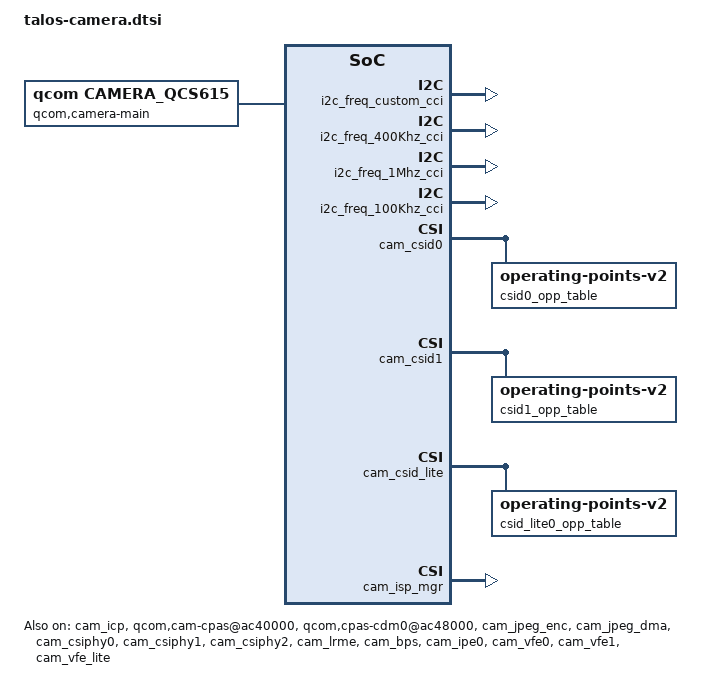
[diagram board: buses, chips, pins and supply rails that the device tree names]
// SPDX-License-Identifier: BSD-3-Clause
/*
 * Copyright (c) Qualcomm Technologies, Inc. and/or its subsidiaries.
 */

#include <dt-bindings/camera/msm-camera.h>
#include <dt-bindings/interconnect/qcom,icc.h>

&soc {
	cam_icp: qcom,icp@ac00000 {
		compatible = "qcom,cam-icp_v1";
		icp-version = <0x0100>;
		reg = <0x0 0xac00000 0x0 0x6000>,
		      <0x0 0xac10000 0x0 0x8000>,
		      <0x0 0xac18000 0x0 0x3000>;
		reg-names = "icp_qgic", "icp_sierra", "icp_csr";
		reg-cam-base = <0x00000 0x10000 0x18000>;
		interrupts = <GIC_SPI 463 IRQ_TYPE_EDGE_RISING>;
		interrupt-names = "a5";
		power-domains = <&camcc TITAN_TOP_GDSC>;
		clocks = <&gcc GCC_CAMERA_AHB_CLK>,
			 <&gcc GCC_CAMERA_HF_AXI_CLK>,
			 <&camcc CAM_CC_FAST_AHB_CLK_SRC>,
			 <&camcc CAM_CC_SOC_AHB_CLK>,
			 <&camcc CAM_CC_CPAS_AHB_CLK>,
			 <&camcc CAM_CC_CAMNOC_AXI_CLK>,
			 <&camcc CAM_CC_ICP_CLK>,
			 <&camcc CAM_CC_ICP_CLK_SRC>;
		clock-names = "gcc_camera_ahb_clk",
			      "gcc_camera_hf_axi_clk",
			      "cam_cc_fast_ahb_clk_src",
			      "cam_cc_soc_ahb_clk",
			      "cam_cc_cpas_ahb_clk",
			      "cam_cc_camnoc_axi_clk",
			      "cam_cc_icp_clk",
			      "cam_cc_icp_clk_src";
		clock-rates = <0 0 100000000 0 0 0 0 240000000>,
			      <0 0 200000000 0 0 0 0 360000000>,
			      <0 0 300000000 0 0 0 0 432000000>,
			      <0 0 404000000 0 0 0 0 480000000>,
			      <0 0 404000000 0 0 0 0 540000000>,
			      <0 0 404000000 0 0 0 0 600000000>;
		clock-cntl-level = "lowsvs", "svs", "svs_l1", "nominal", "nominal_l1", "turbo";
		src-clock-name = "cam_cc_icp_clk_src";
		operating-points-v2 = <&a5_opp_table>;
		fw_name = "CAMERA_ICP.elf";
		ubwc-cfg = <0x73 0x1CF>;
		cam_hw_pid = <15>;
		cell-index = <0>;
		status = "okay";

		a5_opp_table: opp-table {
			compatible = "operating-points-v2";

			opp-240000000 {
				opp-hz = /bits/ 64 <240000000>;
				required-opps = <&rpmhpd_opp_low_svs>;
			};

			opp-360000000 {
				opp-hz = /bits/ 64 <360000000>;
				required-opps = <&rpmhpd_opp_svs>;
			};

			opp-432000000 {
				opp-hz = /bits/ 64 <432000000>;
				required-opps = <&rpmhpd_opp_svs_l1>;
			};

			opp-480000000 {
				opp-hz = /bits/ 64 <480000000>;
				required-opps = <&rpmhpd_opp_nom>;
			};

			opp-540000000 {
				opp-hz = /bits/ 64 <540000000>;
				required-opps = <&rpmhpd_opp_nom_l1>;
			};

			opp-600000000 {
				opp-hz = /bits/ 64 <600000000>;
				required-opps = <&rpmhpd_opp_turbo>;
			};
		};
	};

	qcom,cam-cpas@ac40000 {
		compatible = "qcom,cam-cpas";
		label = "cpas";
		arch-compat = "cpas_top";
		reg = <0x0 0xac40000 0x0 0x1000>,
		      <0x0 0xac42000 0x0 0x5000>;
		reg-names = "cam_cpas_top", "cam_camnoc";
		reg-cam-base = <0x40000 0x42000>;
		interrupts = <GIC_SPI 459 IRQ_TYPE_EDGE_RISING>;
		interrupt-names = "cpas_camnoc";
		camnoc-axi-min-ib-bw = <3000000000>;
		power-domains = <&camcc TITAN_TOP_GDSC>;
		clocks = <&gcc GCC_CAMERA_AHB_CLK>,
			 <&gcc GCC_CAMERA_HF_AXI_CLK>,
			 <&camcc CAM_CC_SOC_AHB_CLK>,
			 <&camcc CAM_CC_SLOW_AHB_CLK_SRC>,
			 <&camcc CAM_CC_CPAS_AHB_CLK>,
			 <&camcc CAM_CC_CAMNOC_AXI_CLK>;
		clock-names = "gcc_camera_ahb_clk",
			      "gcc_camera_hf_axi_clk",
			      "cam_cc_soc_ahb_clk",
			      "cam_cc_slow_ahb_clk_src",
			      "cam_cc_cpas_ahb_clk",
			      "cam_cc_camnoc_axi_clk";
		clock-rates = <0 0 0 0 0 0>,
			      <0 0 0 80000000 0 150000000>,
			      <0 0 0 80000000 0 240000000>,
			      <0 0 0 80000000 0 265000000>,
			      <0 0 0 80000000 0 355000000>,
			      <0 0 0 80000000 0 426000000>;
		clock-cntl-level = "suspend", "lowsvs", "svs",
				   "svs_l1", "nominal", "turbo";
		src-clock-name = "cam_cc_camnoc_axi_clk";
		operating-points-v2 = <&cpas_opp_table>;
		control-camnoc-axi-clk;
		camnoc-bus-width = <32>;
		camnoc-axi-clk-bw-margin-perc = <20>;
		cam-icc-path-names = "cam_ahb";
		interconnects = <&gem_noc MASTER_APPSS_PROC QCOM_ICC_TAG_ACTIVE_ONLY
				 &config_noc SLAVE_CAMERA_CFG QCOM_ICC_TAG_ACTIVE_ONLY>,
				<&mmss_noc MASTER_CAMNOC_HF0 QCOM_ICC_TAG_ALWAYS
				 &mc_virt SLAVE_EBI1 QCOM_ICC_TAG_ALWAYS>,
				<&mmss_noc MASTER_CAMNOC_HF1 QCOM_ICC_TAG_ALWAYS
				 &mc_virt SLAVE_EBI1 QCOM_ICC_TAG_ALWAYS>,
				<&mmss_noc MASTER_CAMNOC_SF QCOM_ICC_TAG_ALWAYS
				 &mc_virt SLAVE_EBI1 QCOM_ICC_TAG_ALWAYS>;
		interconnect-names = "cam_ahb",
				     "cam_hf_0_mnoc",
				     "cam_hf_1_mnoc",
				     "cam_sf_0_mnoc";
		cam-ahb-num-cases = <7>;
		cam-ahb-bw-KBps = <0 0>, <0 76800>, <0 150000>, <0 150000>,
				  <0 300000>, <0 300000>, <0 300000>;
		vdd-corners = <RPMH_REGULATOR_LEVEL_RETENTION
			       RPMH_REGULATOR_LEVEL_MIN_SVS
			       RPMH_REGULATOR_LEVEL_LOW_SVS
			       RPMH_REGULATOR_LEVEL_SVS
			       RPMH_REGULATOR_LEVEL_SVS_L1
			       RPMH_REGULATOR_LEVEL_NOM
			       RPMH_REGULATOR_LEVEL_NOM_L1
			       RPMH_REGULATOR_LEVEL_NOM_L2
			       RPMH_REGULATOR_LEVEL_TURBO
			       RPMH_REGULATOR_LEVEL_TURBO_L1>;
		vdd-corner-ahb-mapping = "suspend", "lowsvs", "lowsvs", "svs",
					 "svs_l1", "nominal", "nominal",
					 "nominal", "turbo", "turbo";
		client-id-based;
		client-names = "csiphy0", "csiphy1", "csiphy2", "cci0",
			       "csid0", "csid1", "csid2","ife0",
			       "ife1", "ife2", "ipe0", "cam-cdm-intf0",
			       "cpas-cdm0", "bps0", "icp0", "jpeg-dma0",
			       "jpeg-enc0", "lrmecpas0";
		cell-index = <0>;
		status = "okay";

		cpas_opp_table: opp-table {
			compatible = "operating-points-v2";

			opp-150000000 {
				opp-hz = /bits/ 64 <150000000>;
				required-opps = <&rpmhpd_opp_low_svs>;
			};

			opp-240000000 {
				opp-hz = /bits/ 64 <240000000>;
				required-opps = <&rpmhpd_opp_svs>;
			};

			opp-265000000 {
				opp-hz = /bits/ 64 <265000000>;
				required-opps = <&rpmhpd_opp_svs_l1>;
			};

			opp-355000000 {
				opp-hz = /bits/ 64 <355000000>;
				required-opps = <&rpmhpd_opp_nom>;
			};

			opp-426000000 {
				opp-hz = /bits/ 64 <426000000>;
				required-opps = <&rpmhpd_opp_turbo>;
			};
		};

		camera-bus-nodes {
			level0-nodes {
				level-index = <0>;

				bps0_all_rd: bps0-all-rd {
					cell-index = <0>;
					node-name = "bps0-all-rd";
					client-name = "bps0";
					traffic-data = <CAM_CPAS_PATH_DATA_ALL>;
					traffic-transaction-type = <CAM_CPAS_TRANSACTION_READ>;
					parent-node = <&level1_nrt0_read0>;
				};

				bps0_all_wr: bps0-all-wr {
					cell-index = <1>;
					node-name = "bps0-all-wr";
					client-name = "bps0";
					traffic-data = <CAM_CPAS_PATH_DATA_ALL>;
					traffic-transaction-type = <CAM_CPAS_TRANSACTION_WRITE>;
					parent-node = <&level1_nrt0_write0>;
				};

				cpas_cdm0_all_rd: cpas-cdm0-all-rd {
					cell-index = <2>;
					node-name = "cpas-cdm0-all-rd";
					client-name = "cpas-cdm0";
					traffic-data = <CAM_CPAS_PATH_DATA_ALL>;
					traffic-transaction-type = <CAM_CPAS_TRANSACTION_READ>;
					parent-node = <&level1_nrt0_read2>;
				};

				icp0_all_rd: icp0-all-rd {
					cell-index = <3>;
					node-name = "icp0-all-rd";
					client-name = "icp0";
					traffic-data = <CAM_CPAS_PATH_DATA_ALL>;
					traffic-transaction-type = <CAM_CPAS_TRANSACTION_READ>;
					parent-node = <&level1_nrt0_read3>;
				};

				ife0_linear_pdaf_wr: ife0-linear-pdaf-wr {
					cell-index = <4>;
					node-name = "ife0-linear-pdaf-wr";
					client-name = "ife0";
					traffic-data = <CAM_CPAS_PATH_DATA_IFE_LINEAR_PDAF>;
					traffic-transaction-type = <CAM_CPAS_TRANSACTION_WRITE>;
					constituent-paths = <CAM_CPAS_PATH_DATA_IFE_LINEAR
							     CAM_CPAS_PATH_DATA_IFE_PDAF>;
					parent-node = <&level1_rt0_write0>;
				};

				ife0_rdi_pixel_raw_wr: ife0-rdi-pixel-raw-wr {
					cell-index = <5>;
					node-name = "ife0-rdi-pixel-raw-wr";
					client-name = "ife0";
					traffic-data = <CAM_CPAS_PATH_DATA_IFE_RDI_PIXEL_RAW>;
					traffic-transaction-type = <CAM_CPAS_TRANSACTION_WRITE>;
					constituent-paths = <CAM_CPAS_PATH_DATA_IFE_RDI0
							     CAM_CPAS_PATH_DATA_IFE_RDI1
							     CAM_CPAS_PATH_DATA_IFE_RDI2
							     CAM_CPAS_PATH_DATA_IFE_PIXEL_RAW>;
					parent-node = <&level1_rt0_write0>;
				};

				ife0_ubwc_stats_wr: ife0-ubwc-stats-wr {
					cell-index = <6>;
					node-name = "ife0-ubwc-stats-wr";
					client-name = "ife0";
					traffic-data = <CAM_CPAS_PATH_DATA_IFE_UBWC_STATS>;
					traffic-transaction-type = <CAM_CPAS_TRANSACTION_WRITE>;
					constituent-paths = <CAM_CPAS_PATH_DATA_IFE_VID
							     CAM_CPAS_PATH_DATA_IFE_DISP
							     CAM_CPAS_PATH_DATA_IFE_STATS>;
					parent-node = <&level1_rt0_write0>;
				};

				ife1_linear_pdaf_wr: ife1-linear-pdaf-wr {
					cell-index = <7>;
					node-name = "ife1-linear-pdaf-wr";
					client-name = "ife1";
					traffic-data = <CAM_CPAS_PATH_DATA_IFE_LINEAR_PDAF>;
					traffic-transaction-type = <CAM_CPAS_TRANSACTION_WRITE>;
					constituent-paths = <CAM_CPAS_PATH_DATA_IFE_LINEAR
							     CAM_CPAS_PATH_DATA_IFE_PDAF>;
					parent-node = <&level1_rt1_write0>;
				};

				ife1_rdi_pixel_raw_wr: ife1-rdi-pixel-raw-wr {
					cell-index = <8>;
					node-name = "ife1-rdi-pixel-raw-wr";
					client-name = "ife1";
					traffic-data = <CAM_CPAS_PATH_DATA_IFE_RDI_PIXEL_RAW>;
					traffic-transaction-type = <CAM_CPAS_TRANSACTION_WRITE>;
					constituent-paths = <CAM_CPAS_PATH_DATA_IFE_RDI0
							     CAM_CPAS_PATH_DATA_IFE_RDI1
							     CAM_CPAS_PATH_DATA_IFE_RDI2
							     CAM_CPAS_PATH_DATA_IFE_PIXEL_RAW>;
					parent-node = <&level1_rt1_write0>;
				};

				ife1_ubwc_stats_wr: ife1-ubwc-stats-wr {
					cell-index = <9>;
					node-name = "ife1-ubwc-stats-wr";
					client-name = "ife1";
					traffic-data = <CAM_CPAS_PATH_DATA_IFE_UBWC_STATS>;
					traffic-transaction-type = <CAM_CPAS_TRANSACTION_WRITE>;
					constituent-paths = <CAM_CPAS_PATH_DATA_IFE_VID
							     CAM_CPAS_PATH_DATA_IFE_DISP
							     CAM_CPAS_PATH_DATA_IFE_STATS>;
					parent-node = <&level1_rt1_write0>;
				};

				ife2_rdi_wr: ife2-rdi-wr {
					cell-index = <10>;
					node-name = "ife2-rdi-wr";
					client-name = "ife2";
					traffic-data = <CAM_CPAS_PATH_DATA_IFE_RDI_ALL>;
					traffic-transaction-type = <CAM_CPAS_TRANSACTION_WRITE>;
					constituent-paths = <CAM_CPAS_PATH_DATA_IFE_RDI0
							     CAM_CPAS_PATH_DATA_IFE_RDI1
							     CAM_CPAS_PATH_DATA_IFE_RDI2
							     CAM_CPAS_PATH_DATA_IFE_RDI3>;
					parent-node = <&level1_rt0_write0>;
				};

				ipe0_all_rd: ipe0-all-rd {
					cell-index = <11>;
					node-name = "ipe0-all-rd";
					client-name = "ipe0";
					traffic-data = <CAM_CPAS_PATH_DATA_ALL>;
					traffic-transaction-type = <CAM_CPAS_TRANSACTION_READ>;
					constituent-paths = <CAM_CPAS_PATH_DATA_IPE_RD_IN
							     CAM_CPAS_PATH_DATA_IPE_RD_REF>;
					parent-node = <&level1_nrt0_read0>;
				};

				ipe0_ref_wr: ipe0-ref-wr {
					cell-index = <12>;
					node-name = "ipe0-ref-wr";
					client-name = "ipe0";
					traffic-data = <CAM_CPAS_PATH_DATA_IPE_WR_REF>;
					traffic-transaction-type = <CAM_CPAS_TRANSACTION_WRITE>;
					parent-node = <&level1_nrt0_write0>;
				};

				ipe0_viddisp_wr: ipe0-viddisp-wr {
					cell-index = <13>;
					node-name = "ipe0-viddisp-wr";
					client-name = "ipe0";
					traffic-data = <CAM_CPAS_PATH_DATA_IPE_WR_VID_DISP>;
					traffic-transaction-type = <CAM_CPAS_TRANSACTION_WRITE>;
					constituent-paths = <CAM_CPAS_PATH_DATA_IPE_WR_VID
							     CAM_CPAS_PATH_DATA_IPE_WR_DISP>;
					parent-node = <&level1_nrt0_write0>;
				};

				jpeg_dma0_all_rd: jpeg-dma0-all-rd {
					cell-index = <14>;
					node-name = "jpeg-dma0-all-rd";
					client-name = "jpeg-dma0";
					traffic-data = <CAM_CPAS_PATH_DATA_ALL>;
					traffic-transaction-type =
					<CAM_CPAS_TRANSACTION_READ>;
					parent-node = <&level1_nrt0_read1>;
				};

				jpeg_dma0_all_wr: jpeg-dma0-all-wr {
					cell-index = <15>;
					node-name = "jpeg-dma0-all-wr";
					client-name = "jpeg-dma0";
					traffic-data = <CAM_CPAS_PATH_DATA_ALL>;
					traffic-transaction-type = <CAM_CPAS_TRANSACTION_WRITE>;
					parent-node = <&level1_nrt0_write1>;
				};

				jpeg_enc0_all_rd: jpeg-enc0-all-rd {
					cell-index = <16>;
					node-name = "jpeg-enc0-all-rd";
					client-name = "jpeg-enc0";
					traffic-data = <CAM_CPAS_PATH_DATA_ALL>;
					traffic-transaction-type = <CAM_CPAS_TRANSACTION_READ>;
					parent-node = <&level1_nrt0_read1>;
				};

				jpeg_enc0_all_wr: jpeg-enc0-all-wr {
					cell-index = <17>;
					node-name = "jpeg-enc0-all-wr";
					client-name = "jpeg-enc0";
					traffic-data = <CAM_CPAS_PATH_DATA_ALL>;
					traffic-transaction-type = <CAM_CPAS_TRANSACTION_WRITE>;
					parent-node = <&level1_nrt0_write1>;
				};

				lrme0_all_rd: lrme0-all-rd {
					cell-index = <18>;
					node-name = "lrme0-all-rd";
					client-name = "lrmecpas0";
					traffic-data = <CAM_CPAS_PATH_DATA_ALL>;
					traffic-transaction-type = <CAM_CPAS_TRANSACTION_READ>;
					parent-node = <&level1_nrt0_read0>;
				};

				lrme0_all_wr: lrme0-all-wr {
					cell-index = <19>;
					node-name = "lrme0-all-wr";
					client-name = "lrmecpas0";
					traffic-data = <CAM_CPAS_PATH_DATA_ALL>;
					traffic-transaction-type = <CAM_CPAS_TRANSACTION_WRITE>;
					parent-node = <&level1_nrt0_write0>;
				};
			};

			level1-nodes {
				level-index = <1>;
				camnoc-max-needed;

				level1_nrt0_read0: level1-nrt0-read0 {
					cell-index = <20>;
					node-name = "level1-nrt0-read0";
					parent-node = <&level2_nrt0_rd_wr_sum>;
					traffic-merge-type = <CAM_CPAS_TRAFFIC_MERGE_SUM>;
				};

				level1_nrt0_read1: level1-nrt0-read1 {
					cell-index = <21>;
					node-name = "level1-nrt0-read1";
					parent-node = <&level2_nrt0_rd_wr_sum>;
					traffic-merge-type = <CAM_CPAS_TRAFFIC_MERGE_SUM>;
				};

				level1_nrt0_read2: level1-nrt0-read2 {
					cell-index = <22>;
					node-name = "level1-nrt0-read2";
					parent-node = <&level2_nrt0_rd_wr_sum>;
					traffic-merge-type = <CAM_CPAS_TRAFFIC_MERGE_SUM>;
				};

				level1_nrt0_read3: level1-nrt0-read3 {
					cell-index = <23>;
					node-name = "level1-nrt0-read3";
					parent-node = <&level2_nrt0_rd_wr_sum>;
					traffic-merge-type = <CAM_CPAS_TRAFFIC_MERGE_SUM>;
				};

				level1_nrt0_write0: level1-nrt0-write0 {
					cell-index = <24>;
					node-name = "level1-nrt0-write0";
					parent-node = <&level2_nrt0_rd_wr_sum>;
					traffic-merge-type = <CAM_CPAS_TRAFFIC_MERGE_SUM>;
				};

				level1_nrt0_write1: level1-nrt0-write1 {
					cell-index = <25>;
					node-name = "level1-nrt0-write1";
					parent-node = <&level2_nrt0_rd_wr_sum>;
					traffic-merge-type = <CAM_CPAS_TRAFFIC_MERGE_SUM>;
				};

				level1_rt0_write0: level1-rt0-write0 {
					cell-index = <26>;
					node-name = "level1-rt0-write0";
					parent-node = <&level2_rt0_rd_wr_sum>;
					traffic-merge-type = <CAM_CPAS_TRAFFIC_MERGE_SUM>;
				};

				level1_rt1_write0: level1-rt1-write0 {
					cell-index = <27>;
					node-name = "level1-rt1-write0";
					parent-node = <&level2_rt1_rd_wr_sum>;
					traffic-merge-type = <CAM_CPAS_TRAFFIC_MERGE_SUM>;
				};
			};

			level2-nodes {
				level-index = <2>;

				level2_nrt0_rd_wr_sum: level2-nrt0-rd-wr-sum {
					cell-index = <28>;
					node-name = "level2-nrt0-rd-wr-sum";
					traffic-merge-type = <CAM_CPAS_TRAFFIC_MERGE_SUM>;

					qcom,axi-port-mnoc {
						cam-icc-path-names = "cam_sf_0_mnoc";
					};
				};

				level2_rt0_rd_wr_sum: level2-rt0-rd-wr-sum {
					cell-index = <29>;
					node-name = "level2-rt0-rd-wr-sum";
					traffic-merge-type = <CAM_CPAS_TRAFFIC_MERGE_SUM>;
					ib-bw-voting-needed;

					qcom,axi-port-mnoc {
						cam-icc-path-names = "cam_hf_0_mnoc";
					};
				};

				level2_rt1_rd_wr_sum: level2-rt1-rd-wr-sum {
					cell-index = <30>;
					node-name = "level3-rt1-rd-wr-sum";
					traffic-merge-type = <CAM_CPAS_TRAFFIC_MERGE_SUM>;

					qcom,axi-port-mnoc {
						cam-icc-path-names = "cam_hf_1_mnoc";
					};
				};
			};
		};
	};

	qcom,cpas-cdm0@ac48000 {
		compatible = "qcom,cam170-cpas-cdm0";
		label = "cpas-cdm";
		reg = <0x0 0xac48000 0x0 0x1000>;
		reg-names = "cpas-cdm";
		reg-cam-base = <0x48000>;
		interrupts = <GIC_SPI 461 IRQ_TYPE_EDGE_RISING>;
		interrupt-names = "cpas-cdm";
		power-domains = <&camcc TITAN_TOP_GDSC>;
		clocks = <&gcc GCC_CAMERA_AHB_CLK>,
			 <&gcc GCC_CAMERA_HF_AXI_CLK>,
			 <&camcc CAM_CC_SOC_AHB_CLK>,
			 <&camcc CAM_CC_CPAS_AHB_CLK>,
			 <&camcc CAM_CC_CAMNOC_AXI_CLK>,
			 <&camcc CAM_CC_SLOW_AHB_CLK_SRC>;
		clock-names = "gcc_camera_ahb_clk",
			      "gcc_camera_hf_axi_clk",
			      "cam_cc_soc_ahb_clk",
			      "cam_cc_cpas_ahb_clk",
			      "cam_cc_camnoc_axi_clk",
			      "cam_cc_slow_ahb_clk_src";
		clock-rates = <0 0 0 0 0 80000000>;
		src-clock-name = "cam_cc_slow_ahb_clk_src";
		operating-points-v2 = <&cpas_cdm_opp_table>;
		clock-cntl-level = "svs";
		cdm-client-names = "ife0", "ife1", "ife2",
				   "ife3", "dualife";
		single-context-cdm;
		cell-index = <0>;
		status = "okay";

		cpas_cdm_opp_table: opp-table {
			compatible = "operating-points-v2";

			opp-80000000 {
				opp-hz = /bits/ 64 <80000000>;
				required-opps = <&rpmhpd_opp_low_svs>;
			};
		};
	};

	cam_cci: qcom,cci@ac4a000 {
		compatible = "qcom,cci", "simple-bus";
		reg = <0x0 0xac4a000 0x0 0x4000>;
		reg-names = "cci";
		reg-cam-base = <0x4a000>;
		interrupts = <GIC_SPI 460 IRQ_TYPE_EDGE_RISING>;
		interrupt-names = "CCI";
		operating-points-v2 = <&cci_opp_table>;
		power-domains = <&camcc TITAN_TOP_GDSC>;
		clocks = <&camcc CAM_CC_CCI_CLK_SRC>,
			 <&camcc CAM_CC_CCI_CLK>;
		clock-names = "cci_clk_src",
			      "cci_clk";
		clock-rates = <37500000 0>;
		clock-cntl-level = "lowsvs";
		src-clock-name = "cci_clk_src";
		pctrl-idx-mapping = <CCI_MASTER_0 CCI_MASTER_1>;
		pctrl-map-names = "m0", "m1";
		pinctrl-0 = <&cci_i2c_scl0_active &cci_i2c_sda0_active>;
		pinctrl-1 = <&cci_i2c_scl0_suspend &cci_i2c_sda0_suspend>;
		pinctrl-2 = <&cci_i2c_scl1_active &cci_i2c_sda1_active>;
		pinctrl-3 = <&cci_i2c_scl1_suspend &cci_i2c_sda1_suspend>;
		pinctrl-names = "m0_active", "m0_suspend",
				"m1_active", "m1_suspend";
		cell-index = <0>;
		status = "okay";

		cci_opp_table: opp-table {
			compatible = "operating-points-v2";

			opp-37500000 {
				opp-hz = /bits/ 64 <37500000>;
				required-opps = <&rpmhpd_opp_low_svs>;
			};
		};

		i2c_freq_custom_cci: qcom,i2c-custom-mode {
			hw-thigh = <38>;
			hw-tlow = <56>;
			hw-tsu-sto = <40>;
			hw-tsu-sta = <40>;
			hw-thd-dat = <22>;
			hw-thd-sta = <35>;
			hw-tbuf = <62>;
			hw-scl-stretch-en = <1>;
			hw-trdhld = <6>;
			hw-tsp = <3>;
			cci-clk-src = <37500000>;
			status = "okay";
		};

		i2c_freq_400Khz_cci: qcom,i2c-fast-mode {
			hw-thigh = <38>;
			hw-tlow = <56>;
			hw-tsu-sto = <40>;
			hw-tsu-sta = <40>;
			hw-thd-dat = <22>;
			hw-thd-sta = <35>;
			hw-tbuf = <62>;
			hw-scl-stretch-en = <0>;
			hw-trdhld = <6>;
			hw-tsp = <3>;
			cci-clk-src = <37500000>;
			status = "okay";
		};

		i2c_freq_1Mhz_cci: qcom,i2c-fast-plus-mode {
			hw-thigh = <16>;
			hw-tlow = <22>;
			hw-tsu-sto = <17>;
			hw-tsu-sta = <18>;
			hw-thd-dat = <16>;
			hw-thd-sta = <15>;
			hw-tbuf = <24>;
			hw-scl-stretch-en = <0>;
			hw-trdhld = <3>;
			hw-tsp = <3>;
			cci-clk-src = <37500000>;
			status = "okay";
		};

		i2c_freq_100Khz_cci: qcom,i2c-standard-mode {
			hw-thigh = <201>;
			hw-tlow = <174>;
			hw-tsu-sto = <204>;
			hw-tsu-sta = <231>;
			hw-thd-dat = <22>;
			hw-thd-sta = <162>;
			hw-tbuf = <227>;
			hw-scl-stretch-en = <0>;
			hw-trdhld = <6>;
			hw-tsp = <3>;
			cci-clk-src = <37500000>;
			status = "okay";
		};
	};

	cam_jpeg_enc: qcom,jpegenc@ac4e000 {
		compatible = "qcom,cam_jpeg_enc_170";
		reg = <0x0 0xac4e000 0x0 0x4000>;
		reg-names = "jpege_hw";
		reg-cam-base = <0x4e000>;
		interrupts = <GIC_SPI 474 IRQ_TYPE_EDGE_RISING>;
		interrupt-names = "jpeg";
		power-domains = <&camcc TITAN_TOP_GDSC>;
		clocks = <&gcc GCC_CAMERA_AHB_CLK>,
			 <&gcc GCC_CAMERA_HF_AXI_CLK>,
			 <&camcc CAM_CC_SOC_AHB_CLK>,
			 <&camcc CAM_CC_CPAS_AHB_CLK>,
			 <&camcc CAM_CC_CAMNOC_AXI_CLK>,
			 <&camcc CAM_CC_JPEG_CLK_SRC>,
			 <&camcc CAM_CC_JPEG_CLK>;
		clock-names = "gcc_camera_ahb_clk",
			      "gcc_camera_hf_axi_clk",
			      "cam_cc_soc_ahb_clk",
			      "cam_cc_cpas_ahb_clk",
			      "cam_cc_camnoc_axi_clk",
			      "cam_cc_jpeg_clk_src",
			      "cam_cc_jpeg_clk";
		clock-rates = <0 0 0 0 0 600000000 0>;
		src-clock-name = "cam_cc_jpeg_clk_src";
		operating-points-v2 = <&jpeg_enc_opp_table>;
		clock-cntl-level = "turbo";
		cell-index = <0>;
		status = "okay";

		jpeg_enc_opp_table: opp-table {
			compatible = "operating-points-v2";

			opp-600000000 {
				opp-hz = /bits/ 64 <600000000>;
				required-opps = <&rpmhpd_opp_turbo>;
			};
		};
	};

	cam_jpeg_dma: qcom,jpegdma@ac52000{
		compatible = "qcom,cam_jpeg_dma_170";
		reg = <0x0 0xac52000 0x0 0x4000>;
		reg-names = "jpegdma_hw";
		reg-cam-base = <0x52000>;
		interrupts = <GIC_SPI 475 IRQ_TYPE_EDGE_RISING>;
		interrupt-names = "jpegdma";
		power-domains = <&camcc TITAN_TOP_GDSC>;
		clocks = <&gcc GCC_CAMERA_AHB_CLK>,
			 <&gcc GCC_CAMERA_HF_AXI_CLK>,
			 <&camcc CAM_CC_SOC_AHB_CLK>,
			 <&camcc CAM_CC_CPAS_AHB_CLK>,
			 <&camcc CAM_CC_CAMNOC_AXI_CLK>,
			 <&camcc CAM_CC_JPEG_CLK_SRC>,
			 <&camcc CAM_CC_JPEG_CLK>;
		clock-names = "gcc_camera_ahb_clk",
			      "gcc_camera_hf_axi_clk",
			      "cam_cc_soc_ahb_clk",
			      "cam_cc_cpas_ahb_clk",
			      "cam_cc_camnoc_axi_clk",
			      "cam_cc_jpeg_clk_src",
			      "cam_cc_jpeg_clk";
		clock-rates = <0 0 0 0 0 600000000 0>;
		src-clock-name = "cam_cc_jpeg_clk_src";
		operating-points-v2 = <&jpeg_dma_opp_table>;
		clock-cntl-level = "turbo";
		cell-index = <0>;
		status = "okay";

		jpeg_dma_opp_table: opp-table {
			compatible = "operating-points-v2";

			opp-600000000 {
				opp-hz = /bits/ 64 <600000000>;
				required-opps = <&rpmhpd_opp_turbo>;
			};
		};
	};

	cam_csiphy0: qcom,csiphy@ac65000 {
		compatible = "qcom,csiphy-v2.0.0", "qcom,csiphy";
		reg = <0x0 0x0ac65000 0x0 0x1000>;
		reg-names = "csiphy";
		operating-points-v2 = <&csiphy0_opp_table>;
		reg-cam-base = <0x65000>;
		interrupts = <GIC_SPI 477 IRQ_TYPE_EDGE_RISING>;
		interrupt-names = "CSIPHY0";
		csi-vdd-voltage = <1200000>;
		mipi-csi-vdd-supply = <&vreg_l11a>;
		power-domains = <&camcc TITAN_TOP_GDSC>;
		clocks = <&camcc CAM_CC_CAMNOC_AXI_CLK>,
			 <&camcc CAM_CC_SOC_AHB_CLK>,
			 <&camcc CAM_CC_SLOW_AHB_CLK_SRC>,
			 <&camcc CAM_CC_CPAS_AHB_CLK>,
			 <&camcc CAM_CC_CPHY_RX_CLK_SRC>,
			 <&camcc CAM_CC_CSIPHY0_CLK>,
			 <&camcc CAM_CC_CSI0PHYTIMER_CLK_SRC>,
			 <&camcc CAM_CC_CSI0PHYTIMER_CLK>;
		clock-names = "camnoc_axi_clk",
			      "soc_ahb_clk",
			      "slow_ahb_src_clk",
			      "cpas_ahb_clk",
			      "cphy_rx_clk_src",
			      "csiphy0_clk",
			      "csi0phytimer_clk_src",
			      "csi0phytimer_clk";
		src-clock-name = "csi0phytimer_clk_src";
		clock-cntl-level = "svs_l1", "turbo";
		clock-rates = <0 0 0 0 269333333 0 269333333 0>,
			      <0 0 0 0 384000000 0 269333333 0>;
		cell-index = <0>;
		status = "okay";

		csiphy0_opp_table: opp-table {
			compatible = "operating-points-v2";

			opp-269333333 {
				opp-hz = /bits/ 64 <269333333>;
				required-opps = <&rpmhpd_opp_svs_l1>;
			};

			opp-384000000 {
				opp-hz = /bits/ 64 <384000000>;
				required-opps = <&rpmhpd_opp_turbo>;
			};
		};
	};

	cam_csiphy1: qcom,csiphy@ac66000 {
		compatible = "qcom,csiphy-v2.0.0", "qcom,csiphy";
		reg = <0x0 0xac66000 0x0 0x1000>;
		reg-names = "csiphy";
		operating-points-v2 = <&csiphy1_opp_table>;
		reg-cam-base = <0x66000>;
		interrupts = <GIC_SPI 478 IRQ_TYPE_EDGE_RISING>;
		interrupt-names = "CSIPHY1";
		csi-vdd-voltage = <1200000>;
		mipi-csi-vdd-supply = <&vreg_l11a>;
		power-domains = <&camcc TITAN_TOP_GDSC>;
		clocks = <&camcc CAM_CC_CAMNOC_AXI_CLK>,
			 <&camcc CAM_CC_SOC_AHB_CLK>,
			 <&camcc CAM_CC_SLOW_AHB_CLK_SRC>,
			 <&camcc CAM_CC_CPAS_AHB_CLK>,
			 <&camcc CAM_CC_CPHY_RX_CLK_SRC>,
			 <&camcc CAM_CC_CSIPHY1_CLK>,
			 <&camcc CAM_CC_CSI1PHYTIMER_CLK_SRC>,
			 <&camcc CAM_CC_CSI1PHYTIMER_CLK>;
		clock-names = "camnoc_axi_clk",
			      "soc_ahb_clk",
			      "slow_ahb_src_clk",
			      "cpas_ahb_clk",
			      "cphy_rx_clk_src",
			      "csiphy1_clk",
			      "csi1phytimer_clk_src",
			      "csi1phytimer_clk";
		src-clock-name = "csi1phytimer_clk_src";
		clock-cntl-level = "svs_l1", "turbo";
		clock-rates = <0 0 0 0 269333333 0 269333333 0>,
			      <0 0 0 0 384000000 0 269333333 0>;
		cell-index = <1>;
		status = "okay";

		csiphy1_opp_table: opp-table {
			compatible = "operating-points-v2";

			opp-269333333 {
				opp-hz = /bits/ 64 <269333333>;
				required-opps = <&rpmhpd_opp_svs_l1>;
			};

			opp-384000000 {
				opp-hz = /bits/ 64 <384000000>;
				required-opps = <&rpmhpd_opp_turbo>;
			};
		};
	};

	cam_csiphy2: qcom,csiphy@ac67000 {
		compatible = "qcom,csiphy-v2.0.0", "qcom,csiphy";
		reg = <0x0 0xac67000 0x0 0x1000>;
		reg-names = "csiphy";
		operating-points-v2 = <&csiphy2_opp_table>;
		reg-cam-base = <0x67000>;
		interrupts = <GIC_SPI 479 IRQ_TYPE_EDGE_RISING>;
		interrupt-names = "CSIPHY2";
		csi-vdd-voltage = <1200000>;
		mipi-csi-vdd-supply = <&vreg_l11a>;
		power-domains = <&camcc TITAN_TOP_GDSC>;
		clocks = <&camcc CAM_CC_CAMNOC_AXI_CLK>,
			 <&camcc CAM_CC_SOC_AHB_CLK>,
			 <&camcc CAM_CC_SLOW_AHB_CLK_SRC>,
			 <&camcc CAM_CC_CPAS_AHB_CLK>,
			 <&camcc CAM_CC_CPHY_RX_CLK_SRC>,
			 <&camcc CAM_CC_CSIPHY2_CLK>,
			 <&camcc CAM_CC_CSI2PHYTIMER_CLK_SRC>,
			 <&camcc CAM_CC_CSI2PHYTIMER_CLK>;
		clock-names = "camnoc_axi_clk",
			      "soc_ahb_clk",
			      "slow_ahb_src_clk",
			      "cpas_ahb_clk",
			      "cphy_rx_clk_src",
			      "csiphy2_clk",
			      "csi2phytimer_clk_src",
			      "csi2phytimer_clk";
		src-clock-name = "csi2phytimer_clk_src";
		clock-cntl-level = "svs_l1", "turbo";
		clock-rates = <0 0 0 0 269333333 0 269333333 0>,
			      <0 0 0 0 384000000 0 269333333 0>;
		cell-index = <2>;
		status = "okay";

		csiphy2_opp_table: opp-table {
			compatible = "operating-points-v2";

			opp-269333333 {
				opp-hz = /bits/ 64 <269333333>;
				required-opps = <&rpmhpd_opp_svs_l1>;
			};

			opp-384000000 {
				opp-hz = /bits/ 64 <384000000>;
				required-opps = <&rpmhpd_opp_turbo>;
			};
		};
	};

	cam_lrme: qcom,lrme@ac6b000 {
		compatible = "qcom,lrme";
		reg = <0x0 0xac6b000 0x0 0xa00>;
		reg-names = "lrme";
		reg-cam-base = <0x6b000>;
		interrupts = <GIC_SPI 476 IRQ_TYPE_EDGE_RISING>;
		interrupt-names = "lrme";
		power-domains = <&camcc TITAN_TOP_GDSC>;
		clocks = <&gcc GCC_CAMERA_AHB_CLK>,
			 <&gcc GCC_CAMERA_HF_AXI_CLK>,
			 <&camcc CAM_CC_SOC_AHB_CLK>,
			 <&camcc CAM_CC_CPAS_AHB_CLK>,
			 <&camcc CAM_CC_CAMNOC_AXI_CLK>,
			 <&camcc CAM_CC_LRME_CLK_SRC>,
			 <&camcc CAM_CC_LRME_CLK>;
		clock-names = "gcc_camera_ahb_clk",
			      "gcc_camera_hf_axi_clk",
			      "cam_cc_soc_ahb_clk",
			      "cam_cc_cpas_ahb_clk",
			      "cam_cc_camnoc_axi_clk",
			      "cam_cc_lrme_clk_src",
			      "cam_cc_lrme_clk";
		clock-rates = <0 0 0 0 0 200000000 0>,
			      <0 0 0 0 0 216000000 0>,
			      <0 0 0 0 0 300000000 0>,
			      <0 0 0 0 0 404000000 0>;
		clock-cntl-level = "lowsvs", "svs", "svs_l1", "nominal";
		src-clock-name = "cam_cc_lrme_clk_src";
		operating-points-v2 = <&lrme_opp_table>;
		cam_hw_pid = <6 10>;
		cell-index = <0>;
		status = "okay";

		lrme_opp_table: opp-table {
			compatible = "operating-points-v2";

			opp-200000000 {
				opp-hz = /bits/ 64 <200000000>;
				required-opps = <&rpmhpd_opp_low_svs>;
			};

			opp-216000000 {
				opp-hz = /bits/ 64 <216000000>;
				required-opps = <&rpmhpd_opp_svs>;
			};

			opp-300000000 {
				opp-hz = /bits/ 64 <300000000>;
				required-opps = <&rpmhpd_opp_svs_l1>;
			};

			opp-404000000 {
				opp-hz = /bits/ 64 <404000000>;
				required-opps = <&rpmhpd_opp_nom>;
			};
		};
	};

	cam_bps: qcom,bps@0x0ac6f000 {
		compatible = "qcom,cam-bps";
		reg = <0x0 0xac6f000 0x0 0x3000>;
		reg-names = "bps_top";
		reg-cam-base = <0x6f000>;
		power-domains = <&camcc BPS_GDSC>;
		clocks = <&camcc CAM_CC_BPS_AHB_CLK>,
			 <&camcc CAM_CC_BPS_AREG_CLK>,
			 <&camcc CAM_CC_BPS_AXI_CLK>,
			 <&camcc CAM_CC_BPS_CLK>,
			 <&camcc CAM_CC_BPS_CLK_SRC>;
		clock-names = "cam_cc_bps_ahb_clk",
			      "cam_cc_bps_areg_clk",
			      "cam_cc_bps_axi_clk",
			      "cam_cc_bps_clk",
			      "cam_cc_bps_clk_src";
		clock-rates = <0 0 0 0 200000000>,
			      <0 0 0 0 360000000>,
			      <0 0 0 0 432000000>,
			      <0 0 0 0 480000000>,
			      <0 0 0 0 540000000>,
			      <0 0 0 0 600000000>;
		clock-cntl-level = "lowsvs", "svs", "svs_l1",
				   "nominal", "nominal_l1", "turbo";
		src-clock-name = "cam_cc_bps_clk_src";
		operating-points-v2 = <&bps_opp_table>;
		cam_hw_pid = <5 9>;
		cell-index = <0>;
		status = "okay";

		bps_opp_table: opp-table {
			compatible = "operating-points-v2";

			opp-200000000 {
				opp-hz = /bits/ 64 <200000000>;
				required-opps = <&rpmhpd_opp_low_svs>;
			};

			opp-360000000 {
				opp-hz = /bits/ 64 <360000000>;
				required-opps = <&rpmhpd_opp_svs>;
			};

			opp-432000000 {
				opp-hz = /bits/ 64 <432000000>;
				required-opps = <&rpmhpd_opp_svs_l1>;
			};

			opp-480000000 {
				opp-hz = /bits/ 64 <480000000>;
				required-opps = <&rpmhpd_opp_nom>;
			};

			opp-540000000 {
				opp-hz = /bits/ 64 <540000000>;
				required-opps = <&rpmhpd_opp_nom_l1>;
			};

			opp-600000000 {
				opp-hz = /bits/ 64 <600000000>;
				required-opps = <&rpmhpd_opp_turbo>;
			};
		};
	};

	cam_ipe0: qcom,ipe0@0x0ac87000 {
		compatible = "qcom,cam-ipe";
		reg = <0x0 0xac87000 0x0 0x3000>;
		reg-names = "ipe0_top";
		reg-cam-base = <0x87000>;
		power-domains = <&camcc IPE_0_GDSC>;
		clock-names = "cam_cc_ipe_0_ahb_clk",
			      "cam_cc_ipe_0_areg_clk",
			      "cam_cc_ipe_0_axi_clk",
			      "cam_cc_ipe_0_clk",
			      "cam_cc_ipe_0_clk_src";
		clocks = <&camcc CAM_CC_IPE_0_AHB_CLK>,
			 <&camcc CAM_CC_IPE_0_AREG_CLK>,
			 <&camcc CAM_CC_IPE_0_AXI_CLK>,
			<&camcc CAM_CC_IPE_0_CLK>,
			<&camcc CAM_CC_IPE_0_CLK_SRC>;
		clock-rates = <0 0 0 0 240000000>,
			      <0 0 0 0 360000000>,
			      <0 0 0 0 432000000>,
			      <0 0 0 0 480000000>,
			      <0 0 0 0 540000000>,
			      <0 0 0 0 600000000>;
		clock-cntl-level = "lowsvs","svs", "svs_l1",
				   "nominal", "nominal_l1", "turbo";
		src-clock-name = "cam_cc_ipe_0_clk_src";
		operating-points-v2 = <&ipe0_opp_table>;
		cam_hw_pid = <4 8>;
		cell-index = <0>;
		status = "okay";

		ipe0_opp_table: opp-table {
			compatible = "operating-points-v2";

			opp-240000000 {
				opp-hz = /bits/ 64 <240000000>;
				required-opps = <&rpmhpd_opp_low_svs>;
			};

			opp-360000000 {
				opp-hz = /bits/ 64 <360000000>;
				required-opps = <&rpmhpd_opp_svs>;
			};

			opp-432000000 {
				opp-hz = /bits/ 64 <432000000>;
				required-opps = <&rpmhpd_opp_svs_l1>;
			};

			opp-480000000 {
				opp-hz = /bits/ 64 <480000000>;
				required-opps = <&rpmhpd_opp_nom>;
			};

			opp-540000000 {
				opp-hz = /bits/ 64 <540000000>;
				required-opps = <&rpmhpd_opp_nom_l1>;
			};

			opp-600000000 {
				opp-hz = /bits/ 64 <600000000>;
				required-opps = <&rpmhpd_opp_turbo>;
			};
		};
	};

	cam_vfe0: qcom,vfe0@acaf000 {
		compatible = "qcom,vfe170";
		reg = <0x0 0xacaf000 0x0 0x4000>,
		      <0x0 0xac42000 0x0 0x5000>;
		reg-names = "ife0", "cam_camnoc";
		reg-cam-base = <0xaf000 0x42000>;
		interrupts = <GIC_SPI 465 IRQ_TYPE_EDGE_RISING>;
		interrupt-names = "ife0";
		power-domains = <&camcc IFE_0_GDSC>;
		clocks = <&gcc GCC_CAMERA_AHB_CLK>,
			 <&gcc GCC_CAMERA_HF_AXI_CLK>,
			 <&camcc CAM_CC_SOC_AHB_CLK>,
			 <&camcc CAM_CC_CPAS_AHB_CLK>,
			 <&camcc CAM_CC_SLOW_AHB_CLK_SRC>,
			 <&camcc CAM_CC_IFE_0_CLK>,
			 <&camcc CAM_CC_IFE_0_CLK_SRC>,
			 <&camcc CAM_CC_CAMNOC_AXI_CLK>,
			 <&camcc CAM_CC_IFE_0_AXI_CLK>;
		clock-names = "gcc_camera_ahb_clk",
			      "gcc_camera_hf_axi_clk",
			      "cam_cc_soc_ahb_clk",
			      "cam_cc_cpas_ahb_clk",
			      "cam_cc_slow_ahb_clk_src",
			      "cam_cc_ife_0_clk",
			      "cam_cc_ife_0_clk_src",
			      "cam_cc_camnoc_axi_clk",
			      "cam_cc_ife_0_axi_clk";
		clock-rates = <0 0 0 0 0 0 240000000 0 0>,
			      <0 0 0 0 0 0 360000000 0 0>,
			      <0 0 0 0 0 0 432000000 0 0>,
			      <0 0 0 0 0 0 540000000 0 0>,
			      <0 0 0 0 0 0 600000000 0 0>;
		clock-cntl-level = "lowsvs", "svs", "svs_l1", "nominal", "turbo";
		src-clock-name = "cam_cc_ife_0_clk_src";
		operating-points-v2 = <&vfe0_opp_table>;
		clock-names-option = "cam_cc_ife_0_dsp_clk";
		clocks-option = <&camcc CAM_CC_IFE_0_DSP_CLK>;
		clock-rates-option = <600000000>;
		cam_hw_pid = <1>;
		clock-control-debugfs = "true";
		cell-index = <0>;
		status = "okay";

		vfe0_opp_table: opp-table {
			compatible = "operating-points-v2";

			opp-240000000 {
				opp-hz = /bits/ 64 <240000000>;
				required-opps = <&rpmhpd_opp_low_svs>;
			};

			opp-360000000 {
				opp-hz = /bits/ 64 <360000000>;
				required-opps = <&rpmhpd_opp_svs>;
			};

			opp-432000000 {
				opp-hz = /bits/ 64 <432000000>;
				required-opps = <&rpmhpd_opp_svs_l1>;
			};

			opp-540000000 {
				opp-hz = /bits/ 64 <540000000>;
				required-opps = <&rpmhpd_opp_nom>;
			};

			opp-600000000 {
				opp-hz = /bits/ 64 <600000000>;
				required-opps = <&rpmhpd_opp_turbo>;
			};
		};
	};

	cam_csid0: qcom,csid0@acb3000 {
		compatible = "qcom,csid170";
		reg = <0x0 0xacb3000 0x0 0x1000>;
		reg-names = "csid0";
		reg-cam-base = <0xb3000>;
		interrupts = <GIC_SPI 464 IRQ_TYPE_EDGE_RISING>;
		interrupt-names = "csid0";
		power-domains = <&camcc IFE_0_GDSC>;
		clocks = <&gcc GCC_CAMERA_AHB_CLK>,
			 <&gcc GCC_CAMERA_HF_AXI_CLK>,
			 <&camcc CAM_CC_SOC_AHB_CLK>,
			 <&camcc CAM_CC_CPAS_AHB_CLK>,
			 <&camcc CAM_CC_SLOW_AHB_CLK_SRC>,
			 <&camcc CAM_CC_IFE_0_CSID_CLK>,
			 <&camcc CAM_CC_IFE_0_CSID_CLK_SRC>,
			 <&camcc CAM_CC_IFE_0_CPHY_RX_CLK>,
			 <&camcc CAM_CC_CPHY_RX_CLK_SRC>,
			 <&camcc CAM_CC_IFE_0_CLK>,
			 <&camcc CAM_CC_IFE_0_CLK_SRC>,
			 <&camcc CAM_CC_CAMNOC_AXI_CLK>,
			 <&camcc CAM_CC_IFE_0_AXI_CLK>;
		clock-names = "gcc_camera_ahb_clk",
			      "gcc_camera_hf_axi_clk",
			      "cam_cc_soc_ahb_clk",
			      "cam_cc_cpas_ahb_clk",
			      "cam_cc_slow_ahb_clk_src",
			      "cam_cc_ife_0_csid_clk",
			      "cam_cc_ife_0_csid_clk_src",
			      "cam_cc_ife_0_cphy_rx_clk",
			      "cam_cc_cphy_rx_clk_src",
			      "cam_cc_ife_0_clk",
			      "cam_cc_ife_0_clk_src",
			      "cam_cc_camnoc_axi_clk",
			      "cam_cc_ife_0_axi_clk";
		clock-rates = <0 0 0 0 0 0 100000000 0 0 0 240000000 0 0>,
			      <0 0 0 0 0 0 200000000 0 0 0 360000000 0 0>,
			      <0 0 0 0 0 0 320000000 0 0 0 432000000 0 0>,
			      <0 0 0 0 0 0 404000000 0 0 0 540000000 0 0>,
			      <0 0 0 0 0 0 480000000 0 0 0 540000000 0 0>,
			      <0 0 0 0 0 0 540000000 0 0 0 600000000 0 0>;
		clock-cntl-level = "lowsvs", "svs", "svs_l1", "nominal", "nominal_l1", "turbo";
		operating-points-v2 = <&csid0_opp_table>;
		src-clock-name = "cam_cc_ife_0_csid_clk_src";
		clock-control-debugfs = "true";
		cell-index = <0>;
		status = "okay";

		csid0_opp_table: opp-table {
			compatible = "operating-points-v2";

			opp-100000000 {
				opp-hz = /bits/ 64 <100000000>;
				required-opps = <&rpmhpd_opp_low_svs>;
			};

			opp-200000000 {
				opp-hz = /bits/ 64 <200000000>;
				required-opps = <&rpmhpd_opp_svs>;
			};

			opp-320000000 {
				opp-hz = /bits/ 64 <320000000>;
				required-opps = <&rpmhpd_opp_svs_l1>;
			};

			opp-404000000 {
				opp-hz = /bits/ 64 <404000000>;
				required-opps = <&rpmhpd_opp_nom>;
			};

			opp-480000000 {
				opp-hz = /bits/ 64 <480000000>;
				required-opps = <&rpmhpd_opp_nom_l1>;
			};

			opp-540000000 {
				opp-hz = /bits/ 64 <540000000>;
				required-opps = <&rpmhpd_opp_turbo>;
			};
		};
	};

	cam_vfe1: qcom,vfe1@acb6000 {
		compatible = "qcom,vfe170";
		reg = <0x0 0xacb6000 0x0 0x4000>,
		      <0x0 0xac42000 0x0 0x5000>;
		reg-names = "ife1", "cam_camnoc";
		reg-cam-base = <0xb6000 0x42000>;
		interrupts = <GIC_SPI 467 IRQ_TYPE_EDGE_RISING>;
		interrupt-names = "ife1";
		power-domains = <&camcc IFE_1_GDSC>;
		clocks = <&gcc GCC_CAMERA_AHB_CLK>,
			 <&gcc GCC_CAMERA_HF_AXI_CLK>,
			 <&camcc CAM_CC_SOC_AHB_CLK>,
			 <&camcc CAM_CC_CPAS_AHB_CLK>,
			 <&camcc CAM_CC_SLOW_AHB_CLK_SRC>,
			 <&camcc CAM_CC_IFE_1_CLK>,
			 <&camcc CAM_CC_IFE_1_CLK_SRC>,
			 <&camcc CAM_CC_CAMNOC_AXI_CLK>,
			 <&camcc CAM_CC_IFE_1_AXI_CLK>;
		clock-names = "gcc_camera_ahb_clk",
			      "gcc_camera_hf_axi_clk",
			      "cam_cc_soc_ahb_clk",
			      "cam_cc_cpas_ahb_clk",
			      "cam_cc_slow_ahb_clk_src",
			      "cam_cc_ife_1_clk",
			      "cam_cc_ife_1_clk_src",
			      "cam_cc_camnoc_axi_clk",
			      "cam_cc_ife_1_axi_clk";
		clock-rates = <0 0 0 0 0 0 240000000 0 0>,
			      <0 0 0 0 0 0 360000000 0 0>,
			      <0 0 0 0 0 0 432000000 0 0>,
			      <0 0 0 0 0 0 540000000 0 0>,
			      <0 0 0 0 0 0 600000000 0 0>;
		clock-cntl-level = "lowsvs", "svs", "svs_l1", "nominal", "turbo";
		src-clock-name = "cam_cc_ife_1_clk_src";
		operating-points-v2 = <&vfe1_opp_table>;
		clock-names-option = "cam_cc_ife_1_dsp_clk";
		clocks-option = <&camcc CAM_CC_IFE_1_DSP_CLK>;
		clock-rates-option = <600000000>;
		cam_hw_pid = <2>;
		clock-control-debugfs = "true";
		cell-index = <1>;
		status = "okay";

		vfe1_opp_table: opp-table {
			compatible = "operating-points-v2";

			opp-240000000 {
				opp-hz = /bits/ 64 <240000000>;
				required-opps = <&rpmhpd_opp_low_svs>;
			};

			opp-360000000 {
				opp-hz = /bits/ 64 <360000000>;
				required-opps = <&rpmhpd_opp_svs>;
			};

			opp-432000000 {
				opp-hz = /bits/ 64 <432000000>;
				required-opps = <&rpmhpd_opp_svs_l1>;
			};

			opp-540000000 {
				opp-hz = /bits/ 64 <540000000>;
				required-opps = <&rpmhpd_opp_nom>;
			};

			opp-600000000 {
				opp-hz = /bits/ 64 <600000000>;
				required-opps = <&rpmhpd_opp_turbo>;
			};
		};
	};

	cam_csid1: qcom,csid1@acba000 {
		compatible = "qcom,csid170";
		reg = <0x0 0xacba000 0x0 0x1000>;
		reg-names = "csid1";
		reg-cam-base = <0xba000>;
		interrupts = <GIC_SPI 466 IRQ_TYPE_EDGE_RISING>;
		interrupt-names = "csid1";
		power-domains = <&camcc IFE_1_GDSC>;
		clocks = <&gcc GCC_CAMERA_AHB_CLK>,
			 <&gcc GCC_CAMERA_HF_AXI_CLK>,
			 <&camcc CAM_CC_SOC_AHB_CLK>,
			 <&camcc CAM_CC_CPAS_AHB_CLK>,
			 <&camcc CAM_CC_SLOW_AHB_CLK_SRC>,
			 <&camcc CAM_CC_IFE_1_CSID_CLK>,
			 <&camcc CAM_CC_IFE_1_CSID_CLK_SRC>,
			 <&camcc CAM_CC_IFE_1_CPHY_RX_CLK>,
			 <&camcc CAM_CC_CPHY_RX_CLK_SRC>,
			 <&camcc CAM_CC_IFE_1_CLK>,
			 <&camcc CAM_CC_IFE_1_CLK_SRC>,
			 <&camcc CAM_CC_CAMNOC_AXI_CLK>,
			 <&camcc CAM_CC_IFE_1_AXI_CLK>;
		clock-names = "gcc_camera_ahb_clk",
			      "gcc_camera_hf_axi_clk",
			      "cam_cc_soc_ahb_clk",
			      "cam_cc_cpas_ahb_clk",
			      "cam_cc_slow_ahb_clk_src",
			      "cam_cc_ife_1_csid_clk",
			      "cam_cc_ife_1_csid_clk_src",
			      "cam_cc_ife_1_cphy_rx_clk",
			      "cam_cc_cphy_rx_clk_src",
			      "cam_cc_ife_1_clk",
			      "cam_cc_ife_1_clk_src",
			      "cam_cc_camnoc_axi_clk",
			      "cam_cc_ife_1_axi_clk";
		clock-rates = <0 0 0 0 0 0 100000000 0 0 0 240000000 0 0>,
			      <0 0 0 0 0 0 200000000 0 0 0 360000000 0 0>,
			      <0 0 0 0 0 0 320000000 0 0 0 432000000 0 0>,
			      <0 0 0 0 0 0 404000000 0 0 0 540000000 0 0>,
			      <0 0 0 0 0 0 480000000 0 0 0 540000000 0 0>,
			      <0 0 0 0 0 0 540000000 0 0 0 600000000 0 0>;
		clock-cntl-level = "lowsvs", "svs", "svs_l1", "nominal", "nominal_l1", "turbo";
		src-clock-name = "cam_cc_ife_1_csid_clk_src";
		operating-points-v2 = <&csid1_opp_table>;
		clock-control-debugfs = "true";
		cell-index = <1>;
		status = "okay";

		csid1_opp_table: opp-table {
			compatible = "operating-points-v2";

			opp-100000000 {
				opp-hz = /bits/ 64 <100000000>;
				required-opps = <&rpmhpd_opp_low_svs>;
			};

			opp-200000000 {
				opp-hz = /bits/ 64 <200000000>;
				required-opps = <&rpmhpd_opp_svs>;
			};

			opp-320000000 {
				opp-hz = /bits/ 64 <320000000>;
				required-opps = <&rpmhpd_opp_svs_l1>;
			};

			opp-404000000 {
				opp-hz = /bits/ 64 <404000000>;
				required-opps = <&rpmhpd_opp_nom>;
			};

			opp-480000000 {
				opp-hz = /bits/ 64 <480000000>;
				required-opps = <&rpmhpd_opp_nom_l1>;
			};

			opp-540000000 {
				opp-hz = /bits/ 64 <540000000>;
				required-opps = <&rpmhpd_opp_turbo>;
			};
		};
	};

	cam_vfe_lite: qcom,vfe-lite@acc4000 {
		compatible = "qcom,vfe-lite170";
		reg = <0x0 0xacc4000 0x0 0x4000>;
		reg-names = "ife-lite0";
		reg-cam-base = <0xc4000>;
		interrupts = <GIC_SPI 469 IRQ_TYPE_EDGE_RISING>;
		interrupt-names = "ife-lite0";
		power-domains = <&camcc TITAN_TOP_GDSC>;
		clocks = <&gcc GCC_CAMERA_AHB_CLK>,
			 <&gcc GCC_CAMERA_HF_AXI_CLK>,
			 <&camcc CAM_CC_SOC_AHB_CLK>,
			 <&camcc CAM_CC_CPAS_AHB_CLK>,
			 <&camcc CAM_CC_SLOW_AHB_CLK_SRC>,
			 <&camcc CAM_CC_IFE_LITE_CLK>,
			 <&camcc CAM_CC_IFE_LITE_CLK_SRC>,
			 <&camcc CAM_CC_CAMNOC_AXI_CLK>;
		clock-names = "gcc_camera_ahb_clk",
			      "gcc_camera_hf_axi_clk",
			      "cam_cc_soc_ahb_clk",
			      "cam_cc_cpas_ahb_clk",
			      "cam_cc_slow_ahb_clk_src",
			      "cam_cc_ife_lite_clk",
			      "cam_cc_ife_lite_clk_src",
			      "cam_cc_camnoc_axi_clk";
		clock-rates = <0 0 0 0 0 0 240000000 0>,
			      <0 0 0 0 0 0 360000000 0>,
			      <0 0 0 0 0 0 432000000 0>,
			      <0 0 0 0 0 0 540000000 0>,
			      <0 0 0 0 0 0 600000000 0>;
		clock-cntl-level = "lowsvs", "svs", "svs_l1", "nominal", "turbo";
		src-clock-name = "cam_cc_ife_lite_clk_src";
		operating-points-v2 = <&vfe_lite0_opp_table>;
		cam_hw_pid = <3>;
		clock-control-debugfs = "true";
		cell-index = <2>;
		status = "okay";

		vfe_lite0_opp_table: opp-table {
			compatible = "operating-points-v2";

			opp-240000000 {
				opp-hz = /bits/ 64 <240000000>;
				required-opps = <&rpmhpd_opp_low_svs>;
			};

			opp-360000000 {
				opp-hz = /bits/ 64 <360000000>;
				required-opps = <&rpmhpd_opp_svs>;
			};

			opp-432000000 {
				opp-hz = /bits/ 64 <432000000>;
				required-opps = <&rpmhpd_opp_svs_l1>;
			};

			opp-540000000 {
				opp-hz = /bits/ 64 <540000000>;
				required-opps = <&rpmhpd_opp_nom>;
			};

			opp-600000000 {
				opp-hz = /bits/ 64 <600000000>;
				required-opps = <&rpmhpd_opp_turbo>;
			};
		};
	};

	cam_csid_lite: qcom,csid-lite@acc8000 {
		compatible = "qcom,csid-lite170";
		reg = <0x0 0xacc8000 0x0 0x1000>;
		reg-names = "csid-lite0";
		reg-cam-base = <0xc8000>;
		interrupts = <GIC_SPI 468 IRQ_TYPE_EDGE_RISING>;
		interrupt-names = "csid-lite0";
		power-domains = <&camcc TITAN_TOP_GDSC>;
		clocks = <&gcc GCC_CAMERA_AHB_CLK>,
			 <&gcc GCC_CAMERA_HF_AXI_CLK>,
			 <&camcc CAM_CC_SOC_AHB_CLK>,
			 <&camcc CAM_CC_CPAS_AHB_CLK>,
			 <&camcc CAM_CC_SLOW_AHB_CLK_SRC>,
			 <&camcc CAM_CC_IFE_LITE_CSID_CLK>,
			 <&camcc CAM_CC_IFE_LITE_CSID_CLK_SRC>,
			 <&camcc CAM_CC_IFE_LITE_CPHY_RX_CLK>,
			 <&camcc CAM_CC_CPHY_RX_CLK_SRC>,
			 <&camcc CAM_CC_IFE_LITE_CLK>,
			 <&camcc CAM_CC_IFE_LITE_CLK_SRC>,
			 <&camcc CAM_CC_CAMNOC_AXI_CLK>;
		clock-names = "gcc_camera_ahb_clk",
			      "gcc_camera_hf_axi_clk",
			      "cam_cc_soc_ahb_clk",
			      "cam_cc_cpas_ahb_clk",
			      "cam_cc_slow_ahb_clk_src",
			      "cam_cc_ife_lite_csid_clk",
			      "cam_cc_ife_lite_csid_clk_src",
			      "cam_cc_ife_lite_cphy_rx_clk",
			      "cam_cc_cphy_rx_clk_src",
			      "cam_cc_ife_lite_clk",
			      "cam_cc_ife_lite_clk_src",
			      "cam_cc_camnoc_axi_clk";
		clock-rates = <0 0 0 0 0 0 100000000 0 0 0 240000000 0>,
			      <0 0 0 0 0 0 200000000 0 0 0 360000000 0>,
			      <0 0 0 0 0 0 320000000 0 0 0 432000000 0>,
			      <0 0 0 0 0 0 404000000 0 0 0 540000000 0>,
			      <0 0 0 0 0 0 480000000 0 0 0 540000000 0>,
			      <0 0 0 0 0 0 540000000 0 0 0 600000000 0>;
		clock-cntl-level = "lowsvs", "svs", "svs_l1", "nominal", "nominal_l1", "turbo";
		src-clock-name = "cam_cc_ife_lite_csid_clk_src";
		operating-points-v2 = <&csid_lite0_opp_table>;
		clock-control-debugfs = "true";
		cell-index = <2>;
		status = "okay";

		csid_lite0_opp_table: opp-table {
			compatible = "operating-points-v2";

			opp-100000000 {
				opp-hz = /bits/ 64 <100000000>;
				required-opps = <&rpmhpd_opp_low_svs>;
			};

			opp-200000000 {
				opp-hz = /bits/ 64 <200000000>;
				required-opps = <&rpmhpd_opp_svs>;
			};

			opp-320000000 {
				opp-hz = /bits/ 64 <320000000>;
				required-opps = <&rpmhpd_opp_svs_l1>;
			};

			opp-404000000 {
				opp-hz = /bits/ 64 <404000000>;
				required-opps = <&rpmhpd_opp_nom>;
			};

			opp-480000000 {
				opp-hz = /bits/ 64 <480000000>;
				required-opps = <&rpmhpd_opp_nom_l1>;
			};

			opp-540000000 {
				opp-hz = /bits/ 64 <540000000>;
				required-opps = <&rpmhpd_opp_turbo>;
			};
		};
	};

	qcom,cam-cdm-intf {
		compatible = "qcom,cam-cdm-intf";
		cell-index = <0>;
		label = "cam-cdm-intf";
		num-hw-cdm = <1>;
		cdm-client-names = "vfe", "jpegdma",
				   "jpegenc", "lrmecdm";
		status = "okay";
	};

	qcom,cam-icp {
		compatible = "qcom,cam-icp";
		compat-hw-name = "qcom,icp",
				 "qcom,ipe0",
				 "qcom,bps";
		num-icp = <1>;
		num-ipe = <1>;
		num-bps = <1>;
		ipe0-mask = <0x1000>;
		icp_pc_en;
		status = "okay";
	};

	cam_isp_mgr: qcom,cam-isp {
		compatible = "qcom,cam-isp";
		arch-compat = "ife";
		status = "okay";
	};

	cam_jpeg_mgr: qcom,cam-jpeg {
		compatible = "qcom,cam-jpeg";
		compat-hw-name = "qcom,jpegenc",
				 "qcom,jpegdma";
		num-jpeg-enc = <1>;
		num-jpeg-dma = <1>;
		status = "okay";
	};

	cam_lrme_mgr: qcom,cam-lrme {
		compatible = "qcom,cam-lrme";
		arch-compat = "lrme";
		status = "okay";
	};

	qcom,camera-main {
		compatible = "qcom,camera_qcs615";
		status = "okay";
	};

	qcom,cam-req-mgr {
		compatible = "qcom,cam-req-mgr";
		status = "okay";
	};

	cam_smmu: qcom,cam-smmu {
		compatible = "qcom,msm-cam-smmu", "simple-bus";
		status = "okay";

		msm-cam-icp-fw {
			compatible = "qcom,msm-cam-smmu-fw-dev";
			label="icp";
			memory-region = <&pil_camera_mem>;
		};

		msm-cam-smmu-cpas-cdm {
			compatible = "qcom,msm-cam-smmu-cb";
			iommus = <&apps_smmu 0x0c00 0x0>;
			cam-smmu-label = "cpas-cdm";

			cpas_cdm_iova_mem_map: iova-mem-map {
				iova-mem-region-io {
					/* IO region is approximately 3.4 GB */
					iova-region-name = "io";
					iova-region-start = <0x7400000>;
					iova-region-len = <0xd8c00000>;
					iova-region-id = <0x3>;
					status = "okay";
				};
			};
		};

		msm-cam-smmu-icp {
			compatible = "qcom,msm-cam-smmu-cb";
			iommus = <&apps_smmu 0x0de2 0x0>,
				 <&apps_smmu 0x0c80 0x0>,
				 <&apps_smmu 0x0ca0 0x0>,
				 <&apps_smmu 0x0d00 0x0>,
				 <&apps_smmu 0x0d20 0x0>;
			cam-smmu-label = "icp";

			icp_iova_mem_map: iova-mem-map {
				iova-mem-region-firmware {
					/* Firmware region is 8MB */
					iova-region-name = "firmware";
					iova-region-start = <0x0>;
					iova-region-len = <0x800000>;
					iova-region-id = <0x0>;
					status = "okay";
				};

				iova-mem-region-io {
					/* IO region is approximately 3.3 GB */
					iova-region-name = "io";
					iova-region-start = <0x10C00000>;
					iova-region-len = <0xCF300000>;
					iova-region-id = <0x3>;
					status = "okay";
				};

				iova-mem-qdss-region {
					/* qdss region is approximately 1MB */
					iova-region-name = "qdss";
					iova-region-start = <0x10B00000>;
					iova-region-len = <0x100000>;
					iova-region-id = <0x5>;
					qdss-phy-addr = <0x16790000>;
					status = "okay";
				};

				iova-mem-region-secondary-heap {
					/* Secondary heap region is 1MB long */
					iova-region-name = "secheap";
					iova-region-start = <0x10A00000>;
					iova-region-len = <0x100000>;
					iova-region-id = <0x4>;
					status = "okay";
				};

				iova-mem-region-shared {
					/* Shared region is 150MB long */
					iova-region-name = "shared";
					iova-region-start = <0x7400000>;
					iova-region-len = <0x9600000>;
					iova-region-id = <0x1>;
					iova-granularity = <0x15>;
					status = "okay";
				};
			};
		};

		msm-cam-smmu-ife {
			compatible = "qcom,msm-cam-smmu-cb";
			iommus = <&apps_smmu 0x0820 0x40>,
			         <&apps_smmu 0x0840 0x00>,
			         <&apps_smmu 0x0860 0x40>;
			cam-smmu-label = "ife";
			multiple-client-devices;
			com,iommu-faults = "stall-disable", "non-fatal";

			ife_iova_mem_map: iova-mem-map {
				/* IO region is approximately 3.4 GB */
				iova-mem-region-io {
					iova-region-name = "io";
					iova-region-start = <0x7400000>;
					iova-region-len = <0xd8c00000>;
					iova-region-id = <0x3>;
					status = "okay";
				};
			};
		};

		msm-cam-smmu-jpeg {
			compatible = "qcom,msm-cam-smmu-cb";
			iommus = <&apps_smmu 0xd80 0x20>,
				 <&apps_smmu  0xda0 0x20>;
			cam-smmu-label = "jpeg";

			jpeg_iova_mem_map: iova-mem-map {
				/* IO region is approximately 3.4 GB */
				iova-mem-region-io {
					iova-region-name = "io";
					iova-region-start = <0x7400000>;
					iova-region-len = <0xd8c00000>;
					iova-region-id = <0x3>;
					status = "okay";
				};
			};
		};

		msm-cam-smmu-lrme {
			compatible = "qcom,msm-cam-smmu-cb";
			iommus = <&apps_smmu 0x0cc0 0x0>,
				 <&apps_smmu 0x0d40 0x0>;
			cam-smmu-label = "lrme";

			lrme_iova_mem_map: iova-mem-map {
				iova-mem-region-shared {
					/* Shared region is 100MB long */
					iova-region-name = "shared";
					iova-region-start = <0x7400000>;
					iova-region-len = <0x6400000>;
					iova-region-id = <0x1>;
					status = "okay";
				};

				/* IO region is approximately 3.3 GB */
				iova-mem-region-io {
					iova-region-name = "io";
					iova-region-start = <0xd800000>;
					iova-region-len = <0xd2800000>;
					iova-region-id = <0x3>;
					status = "okay";
				};
			};
		};

		msm-cam-smmu-secure {
			compatible = "qcom,msm-cam-smmu-cb";
			cam-smmu-label = "cam-secure";
			qcom,secure-cb;
		};
	};

	qcom,cam-sync {
		compatible = "qcom,cam-sync";
		status = "okay";
	};
};

&tlmm {
	cam_sensor_active_rst0: cam-sensor-active-rst0 {
		/* RESET */
		mux {
			pins = "gpio75";
			function = "gpio";
		};

		config {
			pins = "gpio75";
			bias-disable; /* No PULL */
			drive-strength = <2>; /* 2 MA */
		};
	};

	cam_sensor_active_rst1: cam-sensor-active-rst1 {
		/* RESET */
		mux {
			pins = "gpio29";
			function = "gpio";
		};

		config {
			pins = "gpio29";
			bias-disable; /* No PULL */
			drive-strength = <2>; /* 2 MA */
		};
	};

	cam_sensor_active_rst2: cam-sensor-active-rst2 {
		/* RESET  */
		mux {
			pins = "gpio37";
			function = "gpio";
		};

		config {
			pins = "gpio37";
			bias-disable; /* No PULL */
			drive-strength = <2>; /* 2 MA */
		};
	};

	cam_sensor_mclk2_active: cam-sensor-mclk2-active {
		/* MCLK2 */
		mux {
			pins = "gpio30";
			function = "cam_mclk";
		};

		config {
			pins = "gpio30";
			bias-disable; /* No PULL */
			drive-strength = <2>; /* 2 MA */
		};
	};

	cam_sensor_mclk2_suspend: cam-sensor-mclk2-suspend {
		/* MCLK2 */
		mux {
			pins = "gpio30";
			function = "cam_mclk";
		};

		config {
			pins = "gpio30";
			bias-pull-down; /* PULL DOWN */
			drive-strength = <2>; /* 2 MA */
		};
	};

	cam_sensor_mclk3_active: cam-sensor-mclk3-active {
		/* MCLK3 */
		mux {
			pins = "gpio28";
			function = "cam_mclk";
		};

		config {
			pins = "gpio28";
			bias-disable; /* No PULL */
			drive-strength = <2>; /* 2 MA */
		};
	};

	cam_sensor_mclk3_suspend: cam-sensor-mclk3-suspend {
		/* MCLK3 */
		mux {
			pins = "gpio28";
			function = "cam_mclk";
		};

		config {
			pins = "gpio28";
			bias-pull-down; /* PULL DOWN */
			drive-strength = <2>; /* 2 MA */
		};
	};

	cam_sensor_suspend_rst0: cam-sensor-suspend-rst0 {
		/* RESET */
		mux {
			pins = "gpio75";
			function = "gpio";
		};

		config {
			pins = "gpio75";
			bias-pull-down; /* PULL DOWN */
			drive-strength = <2>; /* 2 MA */
			output-low;
		};
	};

	cam_sensor_suspend_rst1: cam-sensor-suspend-rst1 {
		/* RESET */
		mux {
			pins = "gpio29";
			function = "gpio";
		};

		config {
			pins = "gpio29";
			bias-pull-down; /* PULL DOWN */
			drive-strength = <2>; /* 2 MA */
			output-low;
		};
	};

	cam_sensor_suspend_rst2: cam-sensor-suspend-rst2 {
		/* RESET */
		mux {
			pins = "gpio37";
			function = "gpio";
		};

		config {
			pins = "gpio37";
			bias-pull-down; /* PULL DOWN */
			drive-strength = <2>; /* 2 MA */
			output-low;
		};
	};

	cci_i2c_scl0_active: cci-i2c-scl0-active {
		mux {
			/* CLK, DATA */
			pins = "gpio33";
			function = "cci_i2c";
		};

		config {
			pins = "gpio33";
			bias-pull-up; /* PULL UP*/
			drive-strength = <2>; /* 2 MA */
		};
	};

	cci_i2c_scl0_suspend: cci-i2c-scl0-suspend {
		mux {
			/* CLK, DATA */
			pins = "gpio33";
			function = "cci_i2c";
		};

		config {
			pins = "gpio33";
			bias-pull-down; /* PULL DOWN */
			drive-strength = <2>; /* 2 MA */
		};
	};

	cci_i2c_scl1_active: cci-i2c-scl1-active {
		mux {
			/* CLK, DATA */
			pins = "gpio35";
			function = "cci_i2c";
		};

		config {
			pins = "gpio35";
			bias-pull-up; /* PULL UP*/
			drive-strength = <2>; /* 2 MA */
		};
	};

	cci_i2c_scl1_suspend: cci-i2c-scl1-suspend {
		mux {
			/* CLK, DATA */
			pins = "gpio35";
			function = "cci_i2c";
		};

		config {
			pins = "gpio35";
			bias-pull-down; /* PULL DOWN */
			drive-strength = <2>; /* 2 MA */
		};
	};


	cci_i2c_sda0_active: cci-i2c-sda0-active {
		mux {
			/* CLK, DATA */
			pins = "gpio32";
			function = "cci_i2c";
		};

		config {
			pins = "gpio32";
			bias-pull-up; /* PULL UP*/
			drive-strength = <2>; /* 2 MA */
		};
	};

	cci_i2c_sda0_suspend: cci-i2c-sda0-suspend {
		mux {
			/* CLK, DATA */
			pins = "gpio32";
			function = "cci_i2c";
		};

		config {
			pins = "gpio32";
			bias-pull-down; /* PULL DOWN */
			drive-strength = <2>; /* 2 MA */
		};
	};

	cci_i2c_sda1_active: cci-i2c-sda1-active {
		mux {
			/* CLK, DATA */
			pins = "gpio34";
			function = "cci_i2c";
		};

		config {
			pins = "gpio34";
			bias-pull-up; /* PULL UP*/
			drive-strength = <2>; /* 2 MA */
		};
	};

	cci_i2c_sda1_suspend: cci-i2c-sda1-suspend {
		mux {
			/* CLK, DATA */
			pins = "gpio34";
			function = "cci_i2c";
		};

		config {
			pins = "gpio34";
			bias-pull-down; /* PULL DOWN */
			drive-strength = <2>; /* 2 MA */
		};
	};
};
